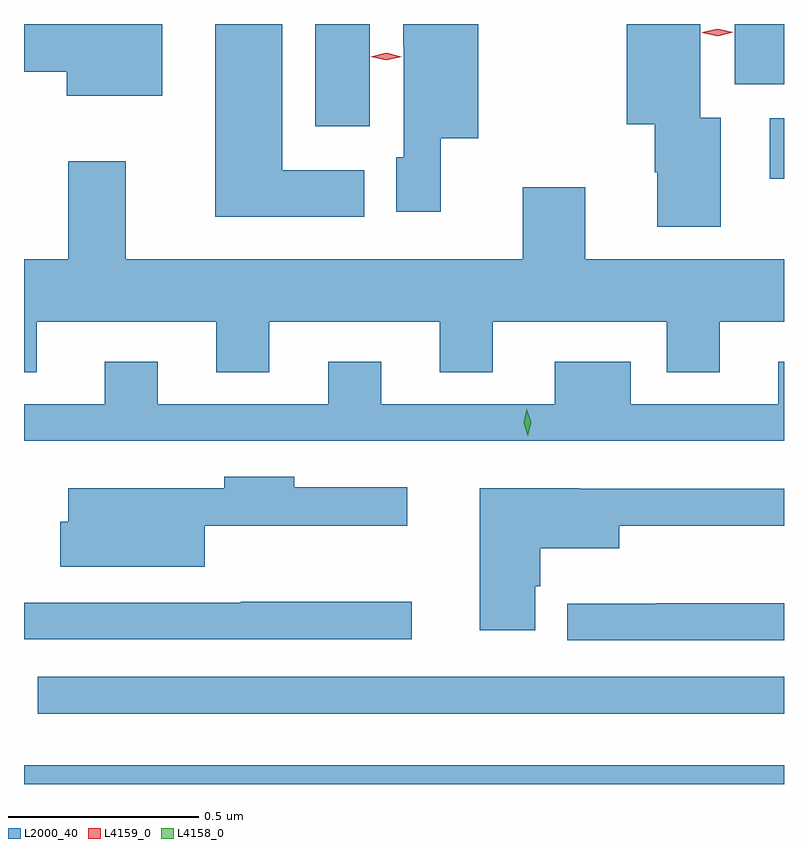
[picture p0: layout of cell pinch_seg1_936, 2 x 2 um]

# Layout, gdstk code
import gdstk
lib = gdstk.Library(unit=1e-6, precision=1e-09)
def R(c, l, rs):  # rectangles x0, y0, x1, y1
    for r in rs: c.add(gdstk.rectangle(r[:2], r[2:], *l))
def P(c, l, *ps):  # polygons
    for p in ps: c.add(gdstk.Polygon(p, *l))
L2000_40 = (2000, 40)
L4158_0 = (4158, 0)
L4159_0 = (4159, 0)

pinch_seg1_936 = lib.new_cell('pinch_seg1_936')
R(pinch_seg1_936, L2000_40, [(559.299,517.215,561.299,517.264), (559.335,517.4,561.299,517.497), (561.261,518.808,561.299,518.967), (560.066,518.946,560.209,519.215), (561.17,519.056,561.299,519.215)])
P(pinch_seg1_936, L2000_40, [(559.663,519.215),(559.299,519.215),(559.299,519.089),(559.412,519.089),(559.412,519.026),(559.663,519.026)],
  [(560.194,518.83),(559.978,518.83),(559.978,519.215),(559.802,519.215),(559.802,518.708),(560.194,518.708)],
  [(560.396,518.915),(560.494,518.915),(560.494,519.215),(560.297,519.215),(560.297,519.155),(560.298,519.155),(560.298,518.865),(560.279,518.865),(560.279,518.721),(560.396,518.721)],
  [(561.133,518.968),(561.079,518.968),(561.079,519.215),(560.885,519.215),(560.885,518.951),(560.959,518.951),(560.959,518.825),(560.966,518.825),(560.966,518.682),(561.133,518.682)],
  [(559.333,518.432),(559.805,518.432),(559.805,518.299),(559.945,518.299),(559.945,518.432),(560.393,518.432),(560.393,518.299),(560.533,518.299),(560.533,518.432),(560.99,518.432),(560.99,518.299),(561.13,518.299),(561.13,518.432),(561.299,518.432),(561.299,518.596),(560.776,518.596),(560.776,518.785),(560.612,518.785),(560.612,518.596),(559.567,518.596),(559.567,518.854),(559.415,518.854),(559.415,518.596),(559.299,518.596),(559.299,518.299),(559.333,518.299)],
  [(561.299,518.326),(561.284,518.326),(561.284,518.214),(560.896,518.214),(560.896,518.326),(560.696,518.326),(560.696,518.214),(560.239,518.214),(560.239,518.326),(560.099,518.326),(560.099,518.214),(559.651,518.214),(559.651,518.326),(559.511,518.326),(559.511,518.214),(559.299,518.214),(559.299,518.118),(561.299,518.118)],
  [(559.774,517.895),(560.308,517.895),(560.308,517.996),(560.01,517.996),(560.01,518.023),(559.826,518.023),(559.826,517.993),(559.415,517.993),(559.415,517.905),(559.394,517.905),(559.394,517.787),(559.774,517.787)],
  [(560.644,517.736),(560.657,517.736),(560.657,517.835),(560.866,517.835),(560.866,517.895),(561.299,517.895),(561.299,517.992),(560.762,517.992),(560.762,517.993),(560.498,517.993),(560.498,517.62),(560.644,517.62)],
  [(560.32,517.694),(559.87,517.694),(559.87,517.692),(559.299,517.692),(559.299,517.596),(560.32,517.596)],
  [(561.299,517.691),(560.962,517.691),(560.962,517.69),(560.729,517.69),(560.729,517.593),(561.299,517.593)])
P(pinch_seg1_936, L4158_0, [(560.625,518.131),(560.625,518.131),(560.614,518.166),(560.622,518.201),(560.622,518.202),(560.622,518.201),(560.634,518.167),(560.625,518.131)])
P(pinch_seg1_936, L4159_0, [(560.252,519.119),(560.212,519.129),(560.212,519.129),(560.212,519.129),(560.252,519.139),(560.293,519.129),(560.293,519.129),(560.293,519.129)],
  [(561.124,519.183),(561.084,519.192),(561.084,519.192),(561.084,519.193),(561.124,519.203),(561.165,519.193),(561.165,519.193),(561.165,519.193)])

lib.write_gds('pinch_seg1_936.gds')
